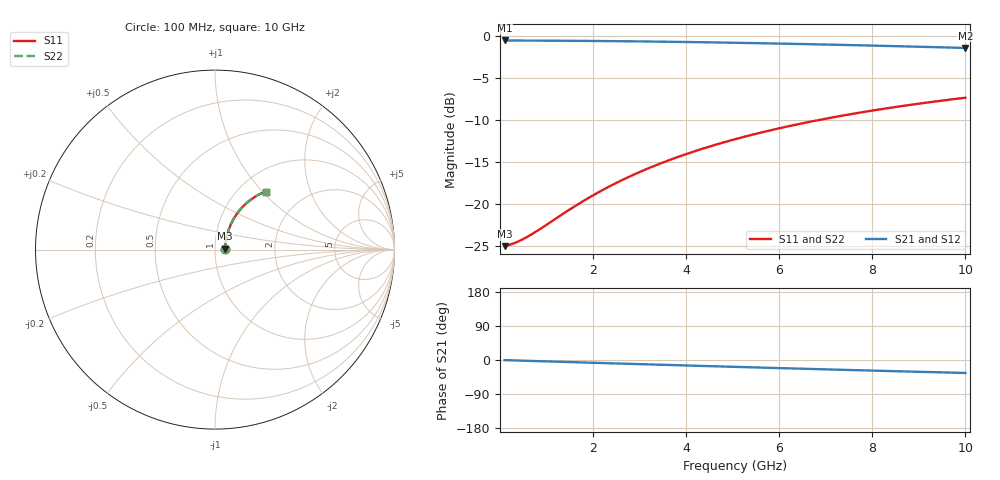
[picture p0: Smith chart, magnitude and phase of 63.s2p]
# Hz S RI R 50.00
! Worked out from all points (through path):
!   100 points, 100 MHz to 10 GHz, reference 50 ohm
!   highest |S21| = -0.50 dB at 100 MHz (marker M1); lowest = -1.4 dB at 10 GHz (marker M2)
!   group delay of S21, straight-line fit = 9.53 ps
!   lowest |S11| = -25.1 dB at 100 MHz (marker M3), VSWR 1.12, Z = 55.9 + j0.505 ohm
!   |S11| at or under -10 dB: start of sweep to 6.851 GHz
!   |S22| runs from -25.1 to -7.3 dB; largest |S21 - S12| = 0
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1e8  0.0556 0.0045  0.9444 -0.00604  0.9444 -0.00604  0.0556 0.0045
3e8  0.0565 0.0135  0.9435 -0.0181  0.9435 -0.0181  0.0565 0.0135
4e8  0.0569 0.018  0.9431 -0.0241  0.9431 -0.0241  0.0569 0.018
6e8  0.0578 0.0269  0.9422 -0.0361  0.9422 -0.0361  0.0578 0.0269
8e8  0.0588 0.0358  0.9411 -0.0481  0.9411 -0.0481  0.0588 0.0358
1.4e9  0.0632 0.0623  0.9366 -0.0838  0.9366 -0.0838  0.0632 0.0623
1.8e9  0.0671 0.0797  0.9325 -0.1073  0.9325 -0.1073  0.0671 0.0797
2.2e9  0.0718 0.0968  0.9276 -0.1306  0.9276 -0.1306  0.0718 0.0968
2.6e9  0.0774 0.1136  0.9218 -0.1535  0.9218 -0.1535  0.0774 0.1136
3e9  0.0837 0.13  0.9152 -0.1761  0.9152 -0.1761  0.0837 0.13
3.4e9  0.0908 0.146  0.9078 -0.1982  0.9078 -0.1982  0.0908 0.146
3.8e9  0.0986 0.1615  0.8996 -0.2199  0.8996 -0.2199  0.0986 0.1615
4.2e9  0.1072 0.1766  0.8907 -0.2411  0.8907 -0.2411  0.1072 0.1766
4.6e9  0.1163 0.1911  0.881 -0.2618  0.881 -0.2618  0.1163 0.1911
5.1e9  0.1287 0.2084  0.8681 -0.2868  0.8681 -0.2868  0.1287 0.2084
5.5e9  0.1392 0.2215  0.857 -0.3062  0.857 -0.3062  0.1392 0.2215
5.9e9  0.1502 0.234  0.8454 -0.3249  0.8454 -0.3249  0.1502 0.234
6.7e9  0.1737 0.2571  0.8208 -0.3605  0.8208 -0.3605  0.1737 0.2571
7.5e9  0.1987 0.2775  0.7944 -0.3934  0.7944 -0.3934  0.1987 0.2775
8.4e9  0.2282 0.2972  0.7631 -0.4271  0.7631 -0.4271  0.2282 0.2972
9.2e9  0.2552 0.3117  0.7342 -0.4543  0.7342 -0.4543  0.2552 0.3117
1e10  0.2828 0.3236  0.7047 -0.4788  0.7047 -0.4788  0.2828 0.3236
